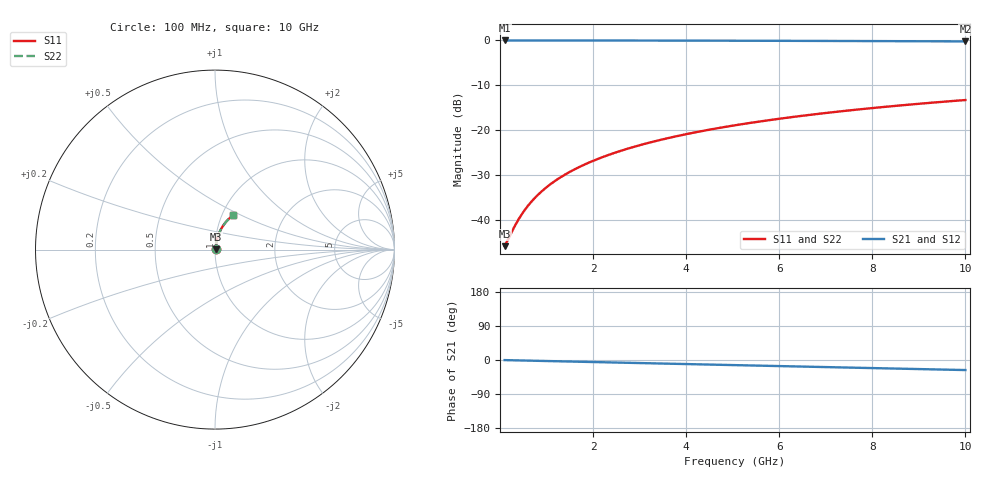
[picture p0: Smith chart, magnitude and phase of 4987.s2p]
# Hz S RI R 50.00
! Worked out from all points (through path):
!   100 points, 100 MHz to 10 GHz, reference 50 ohm
!   highest |S21| = -0.04 dB at 100 MHz (marker M1); lowest = -0.3 dB at 10 GHz (marker M2)
!   group delay of S21, straight-line fit = 7.38 ps
!   lowest |S11| = -45.8 dB at 100 MHz (marker M3), VSWR 1.01, Z = 50.5 + j0.227 ohm
!   |S11| at or under -10 dB: start of sweep to end of sweep
!   |S22| runs from -45.8 to -13.3 dB; largest |S21 - S12| = 0
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1e8  0.00462 0.00225  0.9954 -0.00466  0.9954 -0.00466  0.00462 0.00225
3e8  0.00475 0.00675  0.9952 -0.014  0.9952 -0.014  0.00475 0.00675
4e8  0.00484 0.009  0.9951 -0.0187  0.9951 -0.0187  0.00484 0.009
5e8  0.00495 0.0112  0.995 -0.0233  0.995 -0.0233  0.00495 0.0112
6e8  0.00508 0.0135  0.9948 -0.028  0.9948 -0.028  0.00508 0.0135
7e8  0.00523 0.0157  0.9946 -0.0326  0.9946 -0.0326  0.00523 0.0157
8e8  0.0054 0.018  0.9944 -0.0373  0.9944 -0.0373  0.0054 0.018
1e9  0.0058 0.0225  0.9939 -0.0466  0.9939 -0.0466  0.0058 0.0225
1.2e9  0.00628 0.0269  0.9933 -0.0559  0.9933 -0.0559  0.00628 0.0269
1.5e9  0.00715 0.0336  0.9922 -0.0698  0.9922 -0.0698  0.00715 0.0336
1.8e9  0.00821 0.0403  0.9908 -0.0837  0.9908 -0.0837  0.00821 0.0403
2.1e9  0.00945 0.0469  0.9892 -0.0976  0.9892 -0.0976  0.00945 0.0469
2.5e9  0.0114 0.0557  0.9867 -0.116  0.9867 -0.116  0.0114 0.0557
2.9e9  0.0137 0.0644  0.9838 -0.1344  0.9838 -0.1344  0.0137 0.0644
3.4e9  0.0169 0.0751  0.9796 -0.1572  0.9796 -0.1572  0.0169 0.0751
4.2e9  0.0232 0.0918  0.9715 -0.1933  0.9715 -0.1933  0.0232 0.0918
5.1e9  0.0317 0.11  0.9605 -0.2333  0.9605 -0.2333  0.0317 0.11
5.9e9  0.0405 0.1255  0.9491 -0.2682  0.9491 -0.2682  0.0405 0.1255
6.7e9  0.0504 0.1402  0.9362 -0.3023  0.9362 -0.3023  0.0504 0.1402
7.5e9  0.0612 0.1541  0.9219 -0.3356  0.9219 -0.3356  0.0612 0.1541
8.4e9  0.0746 0.1687  0.9042 -0.3721  0.9042 -0.3721  0.0746 0.1687
1e10  0.101 0.1916  0.8689 -0.4339  0.8689 -0.4339  0.101 0.1916
